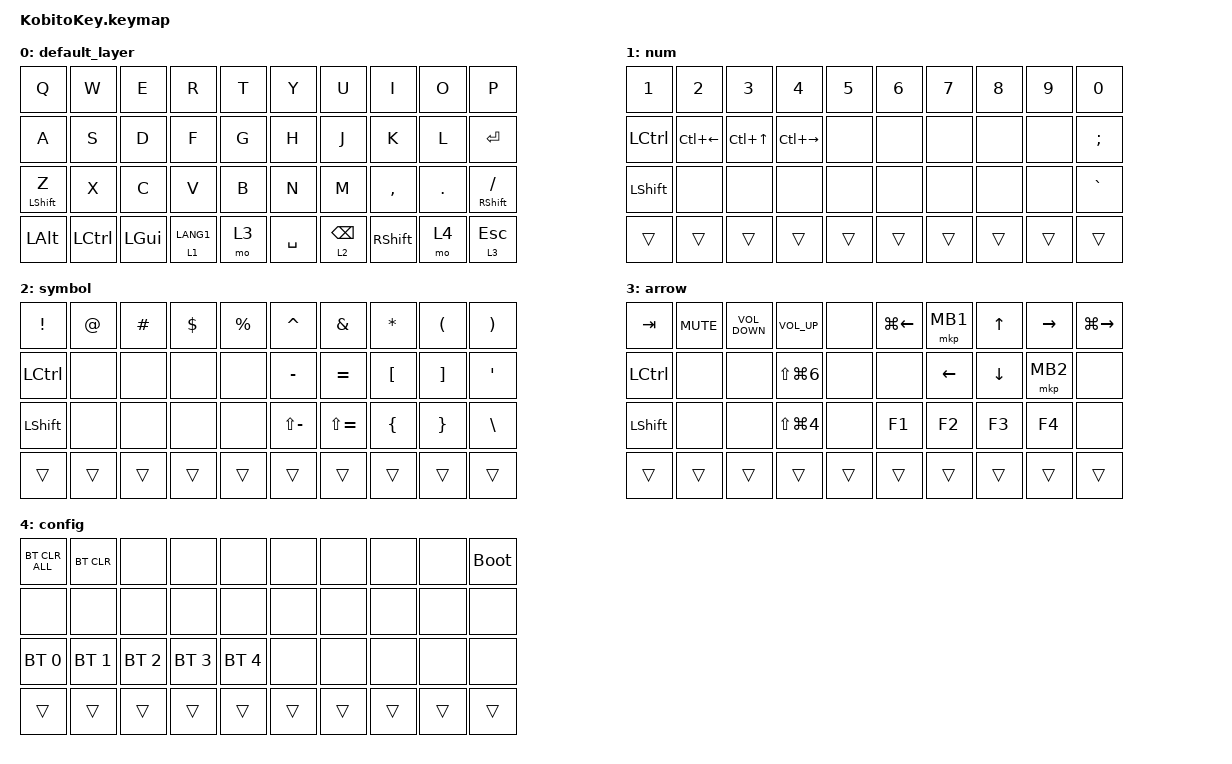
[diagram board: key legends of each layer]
#include <input/processors.dtsi>
#include <behaviors.dtsi>
#include <dt-bindings/zmk/bt.h>
#include <dt-bindings/zmk/keys.h>
#include <dt-bindings/zmk/pointing.h>

/ {
    combos { compatible = "zmk,combos"; };

    keymap {
        compatible = "zmk,keymap";

        default_layer {
            bindings = <
&kp Q             &kp W      &kp E         &kp R        &kp T  &kp Y      &kp U            &kp I            &kp O    &kp P
&kp A             &kp S      &kp D         &kp F        &kp G  &kp H      &kp J            &kp K            &kp L    &kp ENTER
&mt LEFT_SHIFT Z  &kp X      &kp C         &kp V        &kp B  &kp N      &kp M            &kp COMMA        &kp DOT  &mt RIGHT_SHIFT SLASH
&kp LEFT_ALT      &kp LCTRL  &kp LEFT_GUI  &lt 1 LANG1  &mo 3  &kp SPACE  &lt 2 BACKSPACE  &kp RIGHT_SHIFT  &mo 4    &lt 3 ESCAPE
            >;
        };

        num {
            bindings = <
&kp NUMBER_1    &kp NUMBER_2        &kp NUMBER_3      &kp NUMBER_4         &kp NUMBER_5  &kp NUMBER_6  &kp NUMBER_7  &kp NUMBER_8  &kp NUMBER_9  &kp NUMBER_0
&kp LCTRL       &kp LC(LEFT_ARROW)  &kp LC(UP_ARROW)  &kp LC(RIGHT_ARROW)  &none         &none         &none         &none         &none         &kp SEMICOLON
&kp LEFT_SHIFT  &none               &none             &none                &none         &none         &none         &none         &none         &kp GRAVE
&trans          &trans              &trans            &trans               &trans        &trans        &trans        &trans        &trans        &trans
            >;
        };

        symbol {
            bindings = <
&kp EXCLAMATION  &kp AT_SIGN  &kp HASH  &kp DOLLAR  &kp PERCENT  &kp CARET      &kp AMPERSAND  &kp ASTERISK      &kp LEFT_PARENTHESIS  &kp RIGHT_PARENTHESIS
&kp LCTRL        &none        &none     &none       &none        &kp MINUS      &kp EQUAL      &kp LEFT_BRACKET  &kp RIGHT_BRACKET     &kp SQT
&kp LEFT_SHIFT   &none        &none     &none       &none        &kp LS(MINUS)  &kp LS(EQUAL)  &kp LEFT_BRACE    &kp RIGHT_BRACE       &kp BACKSLASH
&trans           &trans       &trans    &trans      &trans       &trans         &trans         &trans            &trans                &trans
            >;
        };

        arrow {
            bindings = <
&kp TAB         &kp C_MUTE  &kp C_VOLUME_DOWN  &kp C_VOLUME_UP       &none   &kp LG(LEFT_ARROW)  &mkp MB1        &kp UP_ARROW  &kp RIGHT  &kp LG(RIGHT)
&kp LCTRL       &none       &none              &kp LS(LG(NUMBER_6))  &none   &none               &kp LEFT_ARROW  &kp DOWN      &mkp MB2   &none
&kp LEFT_SHIFT  &none       &none              &kp LS(LG(NUMBER_4))  &none   &kp F1              &kp F2          &kp F3        &kp F4     &none
&trans          &trans      &trans             &trans                &trans  &trans              &trans          &trans        &trans     &trans
            >;
        };

        config {
            bindings = <
&bt BT_CLR_ALL  &bt BT_CLR    &none         &none         &none         &none   &none   &none   &none   &bootloader
&none           &none         &none         &none         &none         &none   &none   &none   &none   &none
&bt BT_SEL 0    &bt BT_SEL 1  &bt BT_SEL 2  &bt BT_SEL 3  &bt BT_SEL 4  &none   &none   &none   &none   &none
&trans          &trans        &trans        &trans        &trans        &trans  &trans  &trans  &trans  &trans
            >;
        };
    };
};
